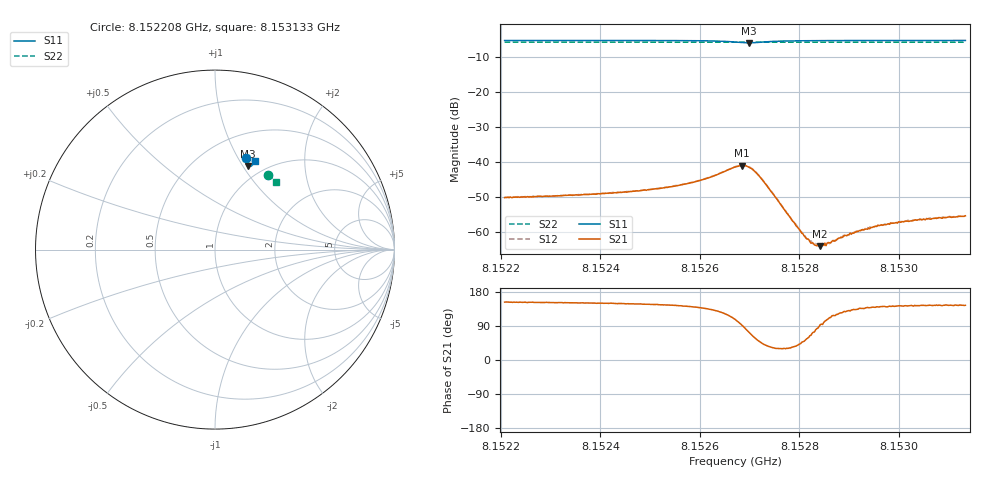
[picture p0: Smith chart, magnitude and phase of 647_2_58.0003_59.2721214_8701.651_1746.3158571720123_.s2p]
#  HZ  S  RI  R  50.00
! Rohde & Schwarz Vector Network Analyzer
! Rohde-Schwarz,ZNB20-2Port,1311601062101988,3.16
! Created: UTC 3/21/2024, 1:19:18 AM
! freq[Hz]  re:S11  im:S11  re:S21  im:S21  re:S12  im:S12  re:S22  im:S22
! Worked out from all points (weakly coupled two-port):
!   401 points, 8.152208 GHz to 8.153133 GHz, reference 50 ohm
!   highest |S21| = -41.07 dB at 8.152684 GHz (marker M1); lowest = -64.1 dB at 8.152842 GHz (marker M2)
!   lowest |S11| = -6.0 dB at 8.152698 GHz (marker M3), VSWR 3.00, Z = 42.6 + j52.8 ohm
!   |S11| at or under -10 dB: nowhere
!   |S22| runs from -5.9 to -5.8 dB; largest |S21 - S12| = 0.00015
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8.1522075e9  0.1713 0.5127  -0.00274 0.00141  -0.00275 0.00146  0.2971 0.4168
8.1523626e9  0.1829 0.5087  -0.00295 0.00166  -0.00296 0.00172  0.305 0.4107
8.1524714e9  0.1919 0.505  -0.00325 0.00204  -0.00323 0.0021  0.3106 0.4064
8.1525177e9  0.1963 0.5027  -0.00344 0.00233  -0.00347 0.00237  0.3129 0.4044
8.1525941e9  0.205 0.4962  -0.004 0.00345  -0.00397 0.00351  0.3169 0.401
8.1526242e9  0.2091 0.4904  -0.00416 0.00451  -0.00413 0.00461  0.3182 0.3997
8.1526705e9  0.2074 0.4704  -0.00251 0.00804  -0.00247 0.00814  0.32 0.3972
8.1526844e9  0.1984 0.464  -0.000275 0.00884  -0.000279 0.00895  0.3202 0.3967
8.1526983e9  0.1853 0.4646  0.00237 0.00809  0.00244 0.00816  0.3205 0.3961
8.1527099e9  0.1772 0.4717  0.00379 0.00628  0.00393 0.00635  0.321 0.3963
8.1527237e9  0.1748 0.4824  0.00405 0.00402  0.00414 0.00406  0.3216 0.3961
8.1528001e9  0.1925 0.5001  0.000801 0.000723  0.000808 0.000682  0.326 0.3934
8.1528094e9  0.194 0.5003  0.000571 0.000666  0.0006 0.000674  0.3265 0.393
8.1528256e9  0.1966 0.5004  0.00023 0.000659  0.000299 0.000634  0.3274 0.3924
8.1528349e9  0.198 0.5004  8.1e-05 0.000627  0.000109 0.00065  0.3278 0.3919
8.1528418e9  0.1988 0.5003  -3.54e-05 0.000623  -4.3e-06 0.000651  0.328 0.3916
8.152858e9  0.201 0.5001  -0.000223 0.000659  -0.000223 0.000671  0.3291 0.391
8.1529089e9  0.2066 0.499  -0.000656 0.000694  -0.00065 0.000734  0.3315 0.3888
8.1529529e9  0.2107 0.4978  -0.000906 0.000786  -0.000913 0.000799  0.3336 0.3869
8.1529807e9  0.213 0.4971  -0.00101 0.000788  -0.000998 0.000805  0.3349 0.3856
8.153064e9  0.2197 0.4948  -0.00123 0.000881  -0.00124 0.000946  0.3389 0.3821
8.1531335e9  0.2247 0.4928  -0.00138 0.000989  -0.00139 0.000946  0.3423 0.379
